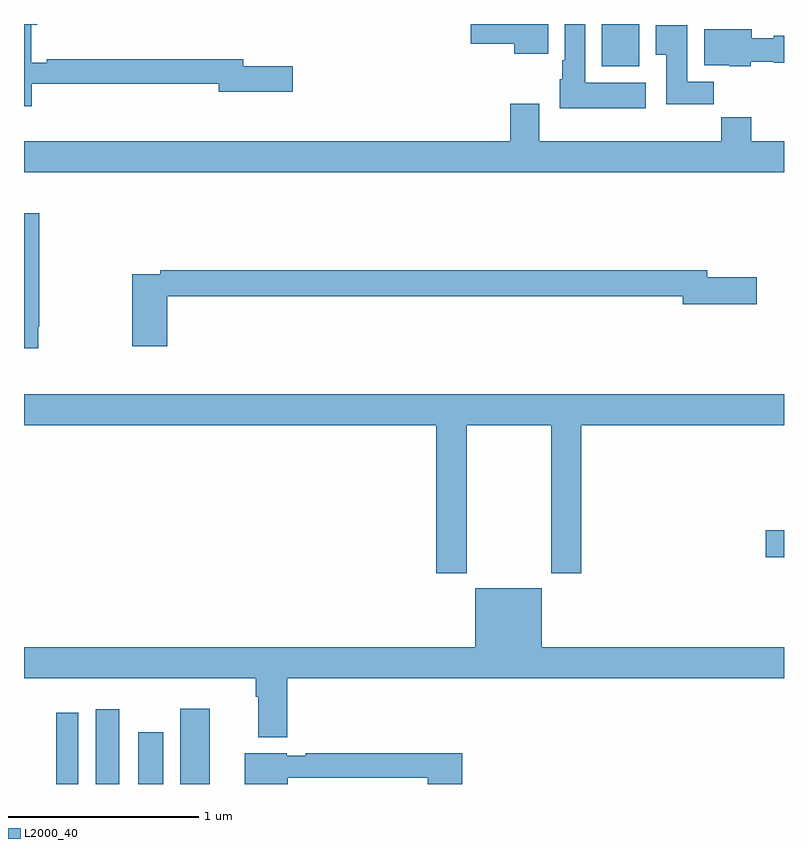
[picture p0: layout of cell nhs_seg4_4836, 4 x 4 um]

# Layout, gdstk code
import gdstk
lib = gdstk.Library(unit=1e-6, precision=1e-09)
def R(c, l, rs):  # rectangles x0, y0, x1, y1
    for r in rs: c.add(gdstk.rectangle(r[:2], r[2:], *l))
def P(c, l, *ps):  # polygons
    for p in ps: c.add(gdstk.Polygon(p, *l))
L2000_40 = (2000, 40)

nhs_seg4_4836 = lib.new_cell('nhs_seg4_4836')
R(nhs_seg4_4836, L2000_40, [(371.17,826.9,371.286,827.275), (371.378,826.9,371.5,827.293), (371.6,826.9,371.734,827.173), (371.822,826.9,371.977,827.296), (374.904,828.094,375,828.236), (374.042,830.678,374.239,830.9)])
P(nhs_seg4_4836, L2000_40, [(371.042,830.586),(372.026,830.586),(372.026,830.543),(372.415,830.543),(372.415,830.678),(372.154,830.678),(372.154,830.714),(371.119,830.714),(371.119,830.696),(371.038,830.696),(371.038,830.897),(371.069,830.897),(371.069,830.9),(371,830.9),(371,830.466),(371.042,830.466)],
  [(374.272,830.59),(373.954,830.59),(373.954,830.9),(373.847,830.9),(373.847,830.71),(373.832,830.71),(373.832,830.61),(373.82,830.61),(373.82,830.456),(374.272,830.456)],
  [(373.759,830.9),(373.35,830.9),(373.35,830.795),(373.58,830.795),(373.58,830.744),(373.759,830.744)],
  [(374.63,830.596),(374.491,830.596),(374.491,830.893),(374.324,830.893),(374.324,830.737),(374.381,830.737),(374.381,830.478),(374.63,830.478)],
  [(374.826,830.702),(374.946,830.702),(374.946,830.695),(375,830.695),(375,830.837),(374.946,830.837),(374.946,830.824),(374.83,830.824),(374.83,830.872),(374.579,830.872),(374.579,830.684),(374.712,830.684),(374.712,830.678),(374.826,830.678)],
  [(375,830.284),(374.828,830.284),(374.828,830.408),(374.671,830.408),(374.671,830.284),(373.711,830.284),(373.711,830.479),(373.559,830.479),(373.559,830.284),(371,830.284),(371,830.12),(375,830.12)],
  [(371.074,829.306),(371.081,829.306),(371.081,829.904),(371,829.904),(371,829.194),(371.074,829.194)],
  [(371.753,829.468),(374.468,829.468),(374.468,829.426),(374.857,829.426),(374.857,829.568),(374.596,829.568),(374.596,829.604),(371.716,829.604),(371.716,829.584),(371.57,829.584),(371.57,829.203),(371.753,829.203)],
  [(373.329,828.788),(373.774,828.788),(373.774,828.009),(373.934,828.009),(373.934,828.788),(375,828.788),(375,828.952),(371,828.952),(371,828.788),(373.169,828.788),(373.169,828.009),(373.329,828.009)],
  [(372.386,827.456),(375,827.456),(375,827.62),(373.726,827.62),(373.726,827.929),(373.376,827.929),(373.376,827.62),(371,827.62),(371,827.456),(372.221,827.456),(372.221,827.36),(372.233,827.36),(372.233,827.147),(372.386,827.147)],
  [(372.388,826.933),(373.124,826.933),(373.124,826.9),(373.307,826.9),(373.307,827.062),(372.484,827.062),(372.484,827.049),(372.384,827.049),(372.384,827.062),(372.161,827.062),(372.161,826.9),(372.388,826.9)])

lib.write_gds('nhs_seg4_4836.gds')
